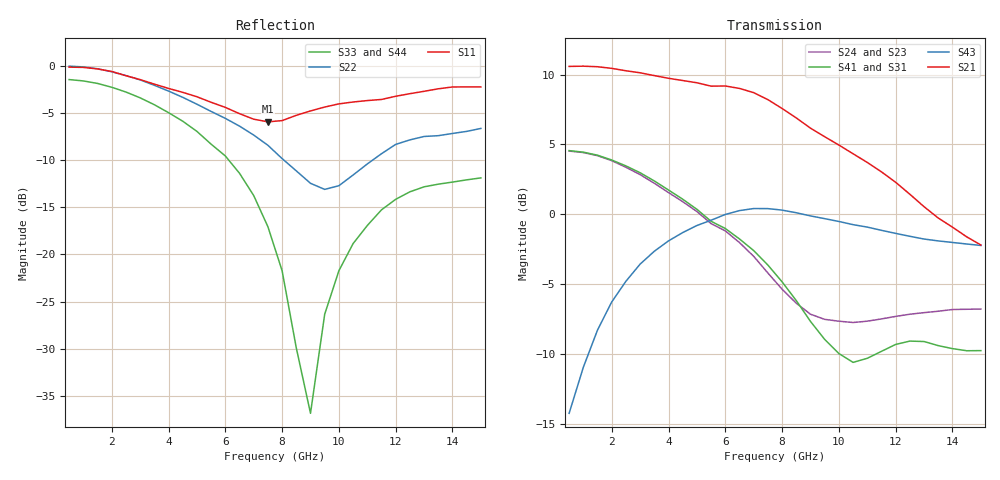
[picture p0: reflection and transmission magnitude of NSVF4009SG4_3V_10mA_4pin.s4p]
! onsemi NSVF4009SG4, VCE = 3 V, IC = 10 mA: the measured S-parameters of the data sheet
! (NSVF4009SG4_3V_10mA.s2p, common emitter) as a 4-port with the pins b, c, e1, e2 against ground;
! written by examples/make_lna.py
# Hz S RI R 50
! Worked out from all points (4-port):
!   30 points, 500 MHz to 15 GHz, reference 50 ohm
!   strongest paths, dB at 500 MHz, 4 GHz, 8 GHz, 11.5 GHz, 15 GHz:
!     S21: 10.6, 9.7, 7.6, 3.0, -2.2
!     S43: -14.2, -1.9, 0.3, -1.1, -2.2
!     S41: 4.6, 1.7, -4.8, -9.8, -9.8
!     S31: 4.6, 1.7, -4.8, -9.8, -9.8
!     S24: 4.5, 1.6, -5.4, -7.5, -6.8
!     S23: 4.5, 1.6, -5.4, -7.5, -6.8
!   lowest |S11| = -5.9 dB at 7.5 GHz (marker M1), VSWR 3.04, Z = 17.6 + j12.3 ohm
!   |S11| at or under -10 dB: nowhere
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5e8  0.9628 -0.2002  0.000229 0.0459  0.0185 0.0771  0.0185 0.0771
     -3.298 0.7399  0.9827 -0.1567  1.658 -0.2916  1.658 -0.2916
     1.668 -0.2699  0.00856 0.0554  -0.8381 0.1072  0.1619 0.1072
     1.668 -0.2699  0.00856 0.0554  0.1619 0.1072  -0.8381 0.1072
2e9  0.5989 -0.7153  0.0805 0.1802  0.1603 0.2676  0.1603 0.2676
     -2.124 2.561  0.7329 -0.5711  1.195 -0.9947  1.195 -0.9947
     1.262 -0.9226  0.0933 0.1954  -0.6779 0.3636  0.3221 0.3636
     1.262 -0.9226  0.0933 0.1954  0.3221 0.3636  -0.6779 0.3636
3.5e9  0.0272 -0.7989  0.2131 0.2174  0.3798 0.2907  0.3798 0.2907
       -0.2633 3.123  0.3378 -0.712  0.4627 -1.205  0.4627 -1.205
       0.618 -1.162  0.2246 0.2473  -0.4213 0.4573  0.5787 0.4573
       0.618 -1.162  0.2246 0.2473  0.5787 0.4573  -0.4213 0.4573
6e9  -0.5295 -0.2858  0.3641 0.127  0.5827 0.0794  0.5827 0.0794
     2.093 1.973  -0.1546 -0.5031  -0.4693 -0.7351  -0.4693 -0.7351
     -0.2818 -0.8438  0.3953 0.1881  -0.0567 0.3279  0.9433 0.3279
     -0.2818 -0.8438  0.3953 0.1881  0.9433 0.3279  -0.0567 0.3279
7.5e9  -0.4324 0.26  0.3883 0.000461  0.5221 -0.1302  0.5221 -0.1302
       2.527 0.4724  -0.3254 -0.1942  -0.6006 -0.1391  -0.6006 -0.1391
       -0.5471 -0.3662  0.4686 0.0968  0.0393 0.1347  1.039 0.1347
       -0.5471 -0.3662  0.4686 0.0968  1.039 0.1347  0.0393 0.1347
9e9  -0.1184 0.564  0.3383 -0.0952  0.3901 -0.2344  0.3901 -0.2344
     1.946 -0.5878  -0.2182 0.0956  -0.3638 0.2461  -0.3638 0.2461
     -0.4137 0.0119  0.44 -0.000186  -0.0131 -0.00585  0.9869 -0.00585
     -0.4137 0.0119  0.44 -0.000186  0.9869 -0.00585  -0.0131 -0.00585
1.5e10  0.7225 0.2733  0.1015 -0.1643  0.088 -0.0545  0.088 -0.0545
        -0.153 -0.7614  0.3966 0.2437  0.3782 0.2588  0.3782 0.2588
        0.2153 0.244  0.251 -0.0397  -0.2331 -0.1022  0.7669 -0.1022
        0.2153 0.244  0.251 -0.0397  0.7669 -0.1022  -0.2331 -0.1022
